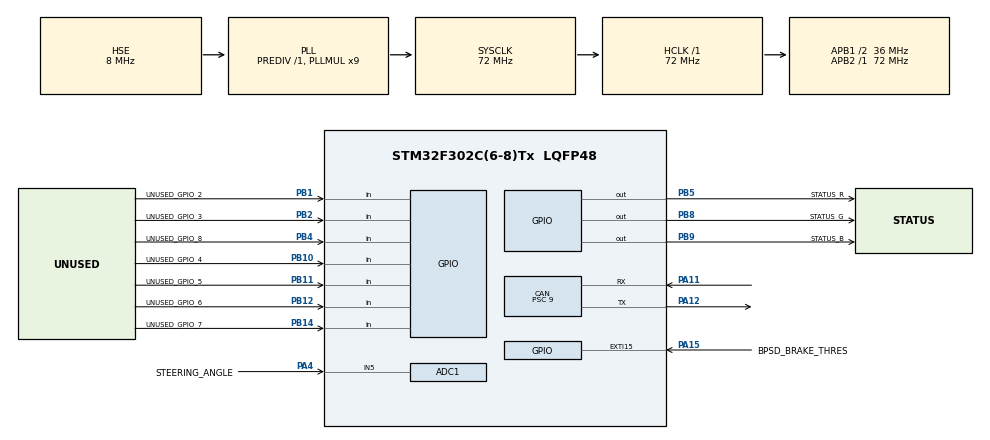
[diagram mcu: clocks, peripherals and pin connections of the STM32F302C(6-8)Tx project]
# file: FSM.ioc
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ADC1.Channel-0\#ChannelRegularConversion=ADC_CHANNEL_5
ADC1.NbrOfConversionFlag=1
ADC1.Offset-0\#ChannelRegularConversion=0
ADC1.OffsetNumber-0\#ChannelRegularConversion=ADC_OFFSET_NONE
ADC1.Rank-0\#ChannelRegularConversion=1
ADC1.SamplingTime-0\#ChannelRegularConversion=ADC_SAMPLETIME_1CYCLE_5
ADC1.SubFamily=STM32F302x8
ADC1.master=1
CAN.ABOM=ENABLE
CAN.BS1=CAN_BS1_6TQ
CAN.CalculateTimeQuantum=250.0
CAN.NART=ENABLE
CAN.Prescaler=9
CAN.RFLM=ENABLE
CAN.SJW=CAN_SJW_4TQ
CAN.TXFP=ENABLE
FREERTOS.INCLUDE_vTaskDelayUntil=1
FREERTOS.MEMORY_ALLOCATION=1
FREERTOS.Tasks01=Task1Hz,0,128,RunTask1Hz,Default,NULL,Static,Task1HzBuffer,Task1HzControlBlock;Task1kHz,0,128,RunTask1kHz,Default,NULL,Static,Task1kHzBuffer,Task1kHzControlBlock
IWDG.Reload=LSI_FREQUENCY / IWDG_PRESCALER / IWDG_RESET_FREQUENCY
IWDG.Window=IWDG_WINDOW_DISABLE_VALUE
Mcu.Family=STM32F3
Mcu.Name=STM32F302C(6-8)Tx
Mcu.Package=LQFP48
Mcu.UserConstants=IWDG_WINDOW_DISABLE_VALUE,4095;IWDG_PRESCALER,4;IWDG_RESET_FREQUENCY,5;LSI_FREQUENCY,40000
NVIC.CAN_RX1_IRQn=true\:5\:0\:false\:false\:true\:true\:true\:true
NVIC.PriorityGroup=NVIC_PRIORITYGROUP_4
NVIC.TIM2_IRQn=true\:0\:0\:false\:false\:true\:false\:false\:true
NVIC.TimeBase=TIM2_IRQn
NVIC.TimeBaseIP=TIM2
NVIC.USB_HP_CAN_TX_IRQn=true\:5\:0\:false\:false\:true\:true\:true\:true
NVIC.USB_LP_CAN_RX0_IRQn=true\:5\:0\:false\:false\:true\:true\:true\:true
PA11.Mode=Master
PA11.Signal=CAN_RX
PA12.Mode=Master
PA12.Signal=CAN_TX
PA13.Mode=Trace_Asynchronous_SW
PA13.Signal=SYS_JTMS-SWDIO
PA14.Mode=Trace_Asynchronous_SW
PA14.Signal=SYS_JTCK-SWCLK
PA15.GPIO_Label=BPSD_BRAKE_THRES
PA15.Signal=GPXTI15
PA4.GPIO_Label=STEERING_ANGLE
PA4.Mode=IN5-Single-Ended
PA4.Signal=ADC1_IN5
PB1.GPIO_Label=UNUSED_GPIO_2
PB1.Signal=GPIO_Input
PB10.GPIO_Label=UNUSED_GPIO_4
PB10.Signal=GPIO_Input
PB11.GPIO_Label=UNUSED_GPIO_5
PB11.Signal=GPIO_Input
PB12.GPIO_Label=UNUSED_GPIO_6
PB12.Signal=GPIO_Input
PB14.GPIO_Label=UNUSED_GPIO_7
PB14.Signal=GPIO_Input
PB2.GPIO_Label=UNUSED_GPIO_3
PB2.Signal=GPIO_Input
PB3.Mode=Trace_Asynchronous_SW
PB3.Signal=SYS_JTDO-TRACESWO
PB4.GPIO_Label=UNUSED_GPIO_8
PB4.Signal=GPIO_Input
PB5.GPIO_Label=STATUS_R
PB5.GPIO_ModeDefaultOutputPP=GPIO_MODE_OUTPUT_OD
PB5.GPIO_PuPd=GPIO_PULLUP
PB5.PinState=GPIO_PIN_SET
PB5.Signal=GPIO_Output
PB8.GPIO_Label=STATUS_G
PB8.GPIO_ModeDefaultOutputPP=GPIO_MODE_OUTPUT_OD
PB8.GPIO_PuPd=GPIO_PULLUP
PB8.PinState=GPIO_PIN_SET
PB8.Signal=GPIO_Output
PB9.GPIO_Label=STATUS_B
PB9.GPIO_ModeDefaultOutputPP=GPIO_MODE_OUTPUT_OD
PB9.GPIO_PuPd=GPIO_PULLUP
PB9.PinState=GPIO_PIN_SET
PB9.Signal=GPIO_Output
PF0-OSC_IN.Mode=HSE-External-Oscillator
PF0-OSC_IN.Signal=RCC_OSC_IN
PF1-OSC_OUT.Mode=HSE-External-Oscillator
PF1-OSC_OUT.Signal=RCC_OSC_OUT
ProjectManager.HeapSize=0x0
ProjectManager.StackSize=0x400
ProjectManager.TargetToolchain=SW4STM32
RCC.AHBFreq_Value=72000000
RCC.APB1CLKDivider=RCC_HCLK_DIV2
RCC.APB1Freq_Value=36000000
RCC.APB1TimFreq_Value=72000000
RCC.APB2Freq_Value=72000000
RCC.APB2TimFreq_Value=72000000
RCC.CortexFreq_Value=72000000
RCC.HCLKFreq_Value=72000000
RCC.HSE_VALUE=8000000
RCC.HSI_VALUE=8000000
RCC.LSE_VALUE=32768
RCC.PLLMUL=RCC_PLL_MUL9
RCC.PLLSourceVirtual=RCC_PLLSOURCE_HSE
RCC.SYSCLKFreq_VALUE=72000000
RCC.SYSCLKSourceVirtual=RCC_SYSCLKSOURCE_PLLCLK
RCC.USBFreq_Value=72000000
VP_FREERTOS_VS_CMSIS_V1.Mode=CMSIS_V1
VP_IWDG_VS_IWDG.Mode=IWDG_Activate
VP_SYS_VS_tim2.Mode=TIM2
board=custom

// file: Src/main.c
/* USER CODE BEGIN Header */
/**
 ******************************************************************************
 * @file           : main.c
 * @brief          : Main program body
 ******************************************************************************
 * @attention
 *
 * <h2><center>&copy; Copyright (c) 2019 STMicroelectronics.
 * All rights reserved.</center></h2>
 *
 * This software component is licensed by ST under Ultimate Liberty license
 * SLA0044, the "License"; You may not use this file except in compliance with
 * the License. You may obtain a copy of the License at:
 *                             www.st.com/SLA0044
 *
 ******************************************************************************
 */
/* USER CODE END Header */

#include "main.h"
#include "cmsis_os.h"

/* USER CODE BEGIN Includes */
#include "SharedWatchdog.h"
#include "SharedConstants.h"
#include "SharedCmsisOs.h"
#include "SharedCan.h"
#include "SharedHeartbeat.h"
#include "Io_Can.h"
/* USER CODE END Includes */

ADC_HandleTypeDef hadc1;

CAN_HandleTypeDef hcan;

IWDG_HandleTypeDef hiwdg;

osThreadId          Task1HzHandle;
uint32_t            Task1HzBuffer[128];
osStaticThreadDef_t Task1HzControlBlock;
osThreadId          Task1kHzHandle;
uint32_t            Task1kHzBuffer[128];
osStaticThreadDef_t Task1kHzControlBlock;

void        SystemClock_Config(void);
static void MX_GPIO_Init(void);
static void MX_CAN_Init(void);
static void MX_ADC1_Init(void);
static void MX_IWDG_Init(void);
void        RunTask1Hz(void const *argument);
void        RunTask1kHz(void const *argument);

int main(void)
{
    /* USER CODE BEGIN 1 */
    __HAL_DBGMCU_FREEZE_IWDG();
    /* USER CODE END 1 */

    /* MCU
     * Configuration--------------------------------------------------------*/

    /* Reset of all peripherals, Initializes the Flash interface and the
     * Systick. */
    HAL_Init();

    /* Configure the system clock */
    SystemClock_Config();

    /* Initialize all configured peripherals */
    MX_GPIO_Init();
    MX_CAN_Init();
    MX_ADC1_Init();
    MX_IWDG_Init();

    /* Create the thread(s) */
    /* definition and creation of Task1Hz */
    osThreadStaticDef(
        Task1Hz, RunTask1Hz, osPriorityNormal, 0, 128, Task1HzBuffer,
        &Task1HzControlBlock);
    Task1HzHandle = osThreadCreate(osThread(Task1Hz), NULL);

    /* definition and creation of Task1kHz */
    osThreadStaticDef(
        Task1kHz, RunTask1kHz, osPriorityNormal, 0, 128, Task1kHzBuffer,
        &Task1kHzControlBlock);
    Task1kHzHandle = osThreadCreate(osThread(Task1kHz), NULL);

    /* Start scheduler */
    osKernelStart();

    /* We should never get here as control is now taken by the scheduler */

    /* Infinite loop */
    while (1)
    {

    }
}

void SystemClock_Config(void)
{
    RCC_OscInitTypeDef       RCC_OscInitStruct = { 0 };
    RCC_ClkInitTypeDef       RCC_ClkInitStruct = { 0 };
    RCC_PeriphCLKInitTypeDef PeriphClkInit     = { 0 };

    /** Initializes the CPU, AHB and APB busses clocks
     */
    RCC_OscInitStruct.OscillatorType =
        RCC_OSCILLATORTYPE_LSI | RCC_OSCILLATORTYPE_HSE;
    RCC_OscInitStruct.HSEState       = RCC_HSE_ON;
    RCC_OscInitStruct.HSEPredivValue = RCC_HSE_PREDIV_DIV1;
    RCC_OscInitStruct.HSIState       = RCC_HSI_ON;
    RCC_OscInitStruct.LSIState       = RCC_LSI_ON;
    RCC_OscInitStruct.PLL.PLLState   = RCC_PLL_ON;
    RCC_OscInitStruct.PLL.PLLSource  = RCC_PLLSOURCE_HSE;
    RCC_OscInitStruct.PLL.PLLMUL     = RCC_PLL_MUL9;
    if (HAL_RCC_OscConfig(&RCC_OscInitStruct) != HAL_OK)
    {
        Error_Handler();
    }
    /** Initializes the CPU, AHB and APB busses clocks
     */
    RCC_ClkInitStruct.ClockType = RCC_CLOCKTYPE_HCLK | RCC_CLOCKTYPE_SYSCLK |
                                  RCC_CLOCKTYPE_PCLK1 | RCC_CLOCKTYPE_PCLK2;
    RCC_ClkInitStruct.SYSCLKSource   = RCC_SYSCLKSOURCE_PLLCLK;
    RCC_ClkInitStruct.AHBCLKDivider  = RCC_SYSCLK_DIV1;
    RCC_ClkInitStruct.APB1CLKDivider = RCC_HCLK_DIV2;
    RCC_ClkInitStruct.APB2CLKDivider = RCC_HCLK_DIV1;

    if (HAL_RCC_ClockConfig(&RCC_ClkInitStruct, FLASH_LATENCY_2) != HAL_OK)
    {
        Error_Handler();
    }
    PeriphClkInit.PeriphClockSelection = RCC_PERIPHCLK_ADC1;
    PeriphClkInit.Adc1ClockSelection   = RCC_ADC1PLLCLK_DIV1;

    if (HAL_RCCEx_PeriphCLKConfig(&PeriphClkInit) != HAL_OK)
    {
        Error_Handler();
    }
}

static void MX_ADC1_Init(void)
{

    ADC_ChannelConfTypeDef sConfig = { 0 };

    /** Common config
     */
    hadc1.Instance                   = ADC1;
    hadc1.Init.ClockPrescaler        = ADC_CLOCK_ASYNC_DIV1;
    hadc1.Init.Resolution            = ADC_RESOLUTION_12B;
    hadc1.Init.ScanConvMode          = ADC_SCAN_DISABLE;
    hadc1.Init.ContinuousConvMode    = DISABLE;
    hadc1.Init.DiscontinuousConvMode = DISABLE;
    hadc1.Init.ExternalTrigConvEdge  = ADC_EXTERNALTRIGCONVEDGE_NONE;
    hadc1.Init.ExternalTrigConv      = ADC_SOFTWARE_START;
    hadc1.Init.DataAlign             = ADC_DATAALIGN_RIGHT;
    hadc1.Init.NbrOfConversion       = 1;
    hadc1.Init.DMAContinuousRequests = DISABLE;
    hadc1.Init.EOCSelection          = ADC_EOC_SINGLE_CONV;
    hadc1.Init.LowPowerAutoWait      = DISABLE;
    hadc1.Init.Overrun               = ADC_OVR_DATA_OVERWRITTEN;
    if (HAL_ADC_Init(&hadc1) != HAL_OK)
    {
        Error_Handler();
    }
    /** Configure Regular Channel
     */
    sConfig.Channel      = ADC_CHANNEL_5;
    sConfig.Rank         = ADC_REGULAR_RANK_1;
    sConfig.SingleDiff   = ADC_SINGLE_ENDED;
    sConfig.SamplingTime = ADC_SAMPLETIME_1CYCLE_5;
    sConfig.OffsetNumber = ADC_OFFSET_NONE;
    sConfig.Offset       = 0;
    if (HAL_ADC_ConfigChannel(&hadc1, &sConfig) != HAL_OK)
    {
        Error_Handler();
    }
}

static void MX_CAN_Init(void)
{

    hcan.Instance                  = CAN;
    hcan.Init.Prescaler            = 9;
    hcan.Init.Mode                 = CAN_MODE_NORMAL;
    hcan.Init.SyncJumpWidth        = CAN_SJW_4TQ;
    hcan.Init.TimeSeg1             = CAN_BS1_6TQ;
    hcan.Init.TimeSeg2             = CAN_BS2_1TQ;
    hcan.Init.TimeTriggeredMode    = DISABLE;
    hcan.Init.AutoBusOff           = ENABLE;
    hcan.Init.AutoWakeUp           = DISABLE;
    hcan.Init.AutoRetransmission   = ENABLE;
    hcan.Init.ReceiveFifoLocked    = ENABLE;
    hcan.Init.TransmitFifoPriority = ENABLE;
    if (HAL_CAN_Init(&hcan) != HAL_OK)
    {
        Error_Handler();
    }
    /* USER CODE BEGIN CAN_Init 2 */
    SharedCan_StartCanInInterruptMode(
        &hcan, Io_Can_GetCanMaskFilters(), Io_Can_GetNumberOfCanMaskFilters());
    /* USER CODE END CAN_Init 2 */
}

static void MX_IWDG_Init(void)
{

    hiwdg.Instance       = IWDG;
    hiwdg.Init.Prescaler = IWDG_PRESCALER_4;
    hiwdg.Init.Window    = IWDG_WINDOW_DISABLE_VALUE;
    hiwdg.Init.Reload = LSI_FREQUENCY / IWDG_PRESCALER / IWDG_RESET_FREQUENCY;
    if (HAL_IWDG_Init(&hiwdg) != HAL_OK)
    {
        Error_Handler();
    }
    /* USER CODE BEGIN IWDG_Init 2 */
    SharedWatchdog_SetIwdgInitialized(&hiwdg);
    /* USER CODE END IWDG_Init 2 */
}

static void MX_GPIO_Init(void)
{
    GPIO_InitTypeDef GPIO_InitStruct = { 0 };

    /* GPIO Ports Clock Enable */
    __HAL_RCC_GPIOC_CLK_ENABLE();
    __HAL_RCC_GPIOF_CLK_ENABLE();
    __HAL_RCC_GPIOA_CLK_ENABLE();
    __HAL_RCC_GPIOB_CLK_ENABLE();

    /*Configure GPIO pin Output Level */
    HAL_GPIO_WritePin(
        GPIOB, STATUS_R_Pin | STATUS_G_Pin | STATUS_B_Pin, GPIO_PIN_SET);

    /*Configure GPIO pins : PC13 PC14 PC15 */
    GPIO_InitStruct.Pin  = GPIO_PIN_13 | GPIO_PIN_14 | GPIO_PIN_15;
    GPIO_InitStruct.Mode = GPIO_MODE_ANALOG;
    GPIO_InitStruct.Pull = GPIO_NOPULL;
    HAL_GPIO_Init(GPIOC, &GPIO_InitStruct);

    /*Configure GPIO pins : PA0 PA1 PA2 PA3
                             PA5 PA6 PA7 PA8
                             PA9 PA10 */
    GPIO_InitStruct.Pin = GPIO_PIN_0 | GPIO_PIN_1 | GPIO_PIN_2 | GPIO_PIN_3 |
                          GPIO_PIN_5 | GPIO_PIN_6 | GPIO_PIN_7 | GPIO_PIN_8 |
                          GPIO_PIN_9 | GPIO_PIN_10;
    GPIO_InitStruct.Mode = GPIO_MODE_ANALOG;
    GPIO_InitStruct.Pull = GPIO_NOPULL;
    HAL_GPIO_Init(GPIOA, &GPIO_InitStruct);

    /*Configure GPIO pins : PB0 PB13 PB15 PB6
                             PB7 */
    GPIO_InitStruct.Pin =
        GPIO_PIN_0 | GPIO_PIN_13 | GPIO_PIN_15 | GPIO_PIN_6 | GPIO_PIN_7;
    GPIO_InitStruct.Mode = GPIO_MODE_ANALOG;
    GPIO_InitStruct.Pull = GPIO_NOPULL;
    HAL_GPIO_Init(GPIOB, &GPIO_InitStruct);

    /*Configure GPIO pins : UNUSED_GPIO_2_Pin UNUSED_GPIO_3_Pin
       UNUSED_GPIO_4_Pin UNUSED_GPIO_5_Pin UNUSED_GPIO_6_Pin UNUSED_GPIO_7_Pin
       UNUSED_GPIO_8_Pin */
    GPIO_InitStruct.Pin = UNUSED_GPIO_2_Pin | UNUSED_GPIO_3_Pin |
                          UNUSED_GPIO_4_Pin | UNUSED_GPIO_5_Pin |
                          UNUSED_GPIO_6_Pin | UNUSED_GPIO_7_Pin |
                          UNUSED_GPIO_8_Pin;
    GPIO_InitStruct.Mode = GPIO_MODE_INPUT;
    GPIO_InitStruct.Pull = GPIO_NOPULL;
    HAL_GPIO_Init(GPIOB, &GPIO_InitStruct);

    /*Configure GPIO pin : BPSD_BRAKE_THRES_Pin */
    GPIO_InitStruct.Pin  = BPSD_BRAKE_THRES_Pin;
    GPIO_InitStruct.Mode = GPIO_MODE_IT_RISING;
    GPIO_InitStruct.Pull = GPIO_NOPULL;
    HAL_GPIO_Init(BPSD_BRAKE_THRES_GPIO_Port, &GPIO_InitStruct);

    /*Configure GPIO pins : STATUS_R_Pin STATUS_G_Pin STATUS_B_Pin */
    GPIO_InitStruct.Pin   = STATUS_R_Pin | STATUS_G_Pin | STATUS_B_Pin;
    GPIO_InitStruct.Mode  = GPIO_MODE_OUTPUT_OD;
    GPIO_InitStruct.Pull  = GPIO_PULLUP;
    GPIO_InitStruct.Speed = GPIO_SPEED_FREQ_LOW;
    HAL_GPIO_Init(GPIOB, &GPIO_InitStruct);
}

void RunTask1Hz(void const *argument)
{
    /* USER CODE BEGIN 5 */
    UNUSED(argument);
    uint32_t PreviousWakeTime = osKernelSysTick();

    for (;;)
    {
        (void)SharedCmsisOs_osDelayUntilMs(&PreviousWakeTime, 1000U);
    }
    /* USER CODE END 5 */
}

void RunTask1kHz(void const *argument)
{
    /* USER CODE BEGIN RunTask1kHz */
    UNUSED(argument);
    uint32_t PreviousWakeTime = osKernelSysTick();

    for (;;)
    {
        SharedHeartbeat_BroadcastHeartbeat(
            CANMSGS_fsm_heartbeat_FRAME_ID, CANMSGS_FSM_HEARTBEAT_LENGTH);
        // TODO (#361) :Implement proper watchdog check-in mechanism
        SharedWatchdog_RefreshIwdg();
        (void)SharedCmsisOs_osDelayUntilMs(&PreviousWakeTime, 1U);
    }
    /* USER CODE END RunTask1kHz */
}

void HAL_TIM_PeriodElapsedCallback(TIM_HandleTypeDef *htim)
{
    if (htim->Instance == TIM2)
    {
        HAL_IncTick();
    }
}

void Error_Handler(void)
{
    /* USER CODE BEGIN Error_Handler_Debug */
    SharedHalHandler_ErrorHandler(file, line);
    /* USER CODE END Error_Handler_Debug */
}

#ifdef USE_FULL_ASSERT
/**
 * @brief  Reports the name of the source file and the source line number
 *         where the assert_param error has occurred.
 * @param  file: pointer to the source file name
 * @param  line: assert_param error line source number
 * @retval None
 */
void assert_failed(char *file, uint32_t line)
{
    /* USER CODE BEGIN 6 */
    SharedHalHandler_AssertFailed(file, line);
    /* USER CODE END 6 */
}
#endif /* USE_FULL_ASSERT */

/************************ (C) COPYRIGHT STMicroelectronics *****END OF FILE****/
